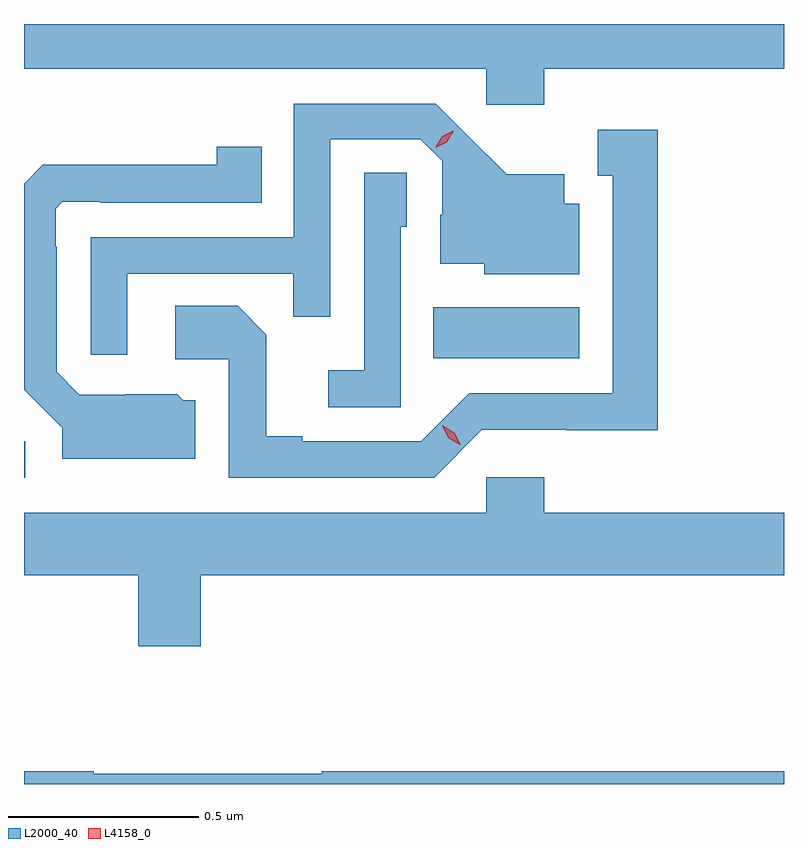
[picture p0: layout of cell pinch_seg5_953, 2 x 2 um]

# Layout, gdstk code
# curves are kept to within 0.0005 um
import gdstk
lib = gdstk.Library(unit=1e-6, precision=1e-09)
def R(c, l, rs):  # rectangles x0, y0, x1, y1
    for r in rs: c.add(gdstk.rectangle(r[:2], r[2:], *l))
def P(c, l, *ps):  # polygons
    for p in ps: c.add(gdstk.Polygon(p, *l))
L2000_40 = (2000, 40)
L4158_0 = (4158, 0)

pinch_seg5_953 = lib.new_cell('pinch_seg5_953')
R(pinch_seg5_953, L2000_40, [(668.203,912.96,668.206,913.056), (669.28,913.274,669.664,913.408)])
P(pinch_seg5_953, L2000_40, [(669.572,914.036),(670.203,914.036),(670.203,914.154),(668.203,914.154),(668.203,914.036),(669.42,914.036),(669.42,913.941),(669.572,913.941)],
  [(668.475,913.497),(668.911,913.497),(668.911,913.384),(669.009,913.384),(669.009,913.851),(669.246,913.851),(669.303,913.794),(669.303,913.652),(669.299,913.652),(669.299,913.523),(669.414,913.523),(669.414,913.496),(669.664,913.496),(669.664,913.681),(669.625,913.681),(669.625,913.759),(669.473,913.759),(669.286,913.944),(668.913,913.944),(668.913,913.593),(668.379,913.593),(668.379,913.284),(668.475,913.284)],
  [(669.408,913.086),(669.63,913.086),(669.63,913.085),(669.871,913.085),(669.871,913.876),(669.713,913.876),(669.713,913.755),(669.752,913.755),(669.752,913.182),(669.375,913.182),(669.249,913.056),(668.935,913.056),(668.935,913.069),(668.841,913.069),(668.841,913.336),(668.765,913.412),(668.601,913.412),(668.601,913.272),(668.742,913.272),(668.742,912.96),(669.282,912.96)],
  [(668.653,913.164),(668.622,913.164),(668.606,913.18),(668.472,913.18),(668.472,913.179),(668.349,913.179),(668.289,913.239),(668.289,913.568),(668.286,913.568),(668.286,913.668),(668.304,913.686),(668.404,913.686),(668.404,913.683),(668.828,913.683),(668.828,913.831),(668.71,913.831),(668.71,913.784),(668.353,913.784),(668.353,913.783),(668.252,913.783),(668.203,913.734),(668.203,913.192),(668.303,913.092),(668.303,913.01),(668.653,913.01)],
  [(669.195,913.62),(669.21,913.62),(669.21,913.763),(669.099,913.763),(669.099,913.243),(669.003,913.243),(669.003,913.146),(669.195,913.146)],
  [(668.668,912.704),(670.203,912.704),(670.203,912.868),(669.572,912.868),(669.572,912.961),(669.42,912.961),(669.42,912.868),(668.203,912.868),(668.203,912.704),(668.504,912.704),(668.504,912.516),(668.668,912.516)],
  [(670.203,912.188),(668.987,912.188),(668.987,912.181),(668.387,912.181),(668.387,912.188),(668.203,912.188),(668.203,912.154),(670.203,912.154)])
P(pinch_seg5_953, L4158_0, [(669.352,913.045),(669.321,913.064),(669.304,913.097),(669.304,913.098),(669.304,913.098),(669.335,913.078),(669.352,913.045),(669.352,913.045)],
  [(669.285,913.828),(669.285,913.829),(669.303,913.858),(669.333,913.873),(669.334,913.873),(669.334,913.873),(669.316,913.843),(669.285,913.828)])

lib.write_gds('pinch_seg5_953.gds')
